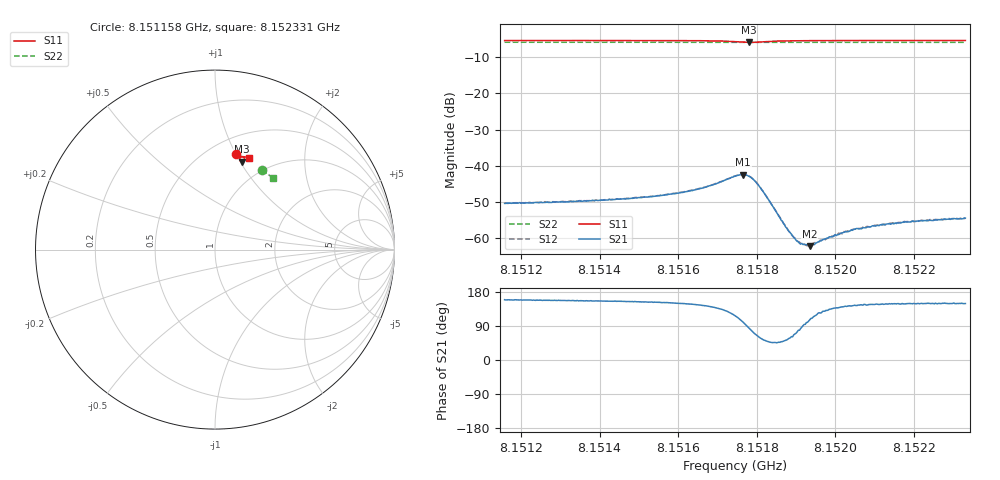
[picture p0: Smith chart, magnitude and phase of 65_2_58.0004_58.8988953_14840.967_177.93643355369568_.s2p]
#  HZ  S  RI  R  50.00
! Rohde & Schwarz Vector Network Analyzer
! Rohde-Schwarz,ZNB20-2Port,1311601062101988,3.16
! Created: UTC 3/21/2024, 12:53:09 AM
! freq[Hz]  re:S11  im:S11  re:S21  im:S21  re:S12  im:S12  re:S22  im:S22
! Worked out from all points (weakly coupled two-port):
!   401 points, 8.151158 GHz to 8.152331 GHz, reference 50 ohm
!   highest |S21| = -42.50 dB at 8.151765 GHz (marker M1); lowest = -62.4 dB at 8.151935 GHz (marker M2)
!   lowest |S11| = -5.8 dB at 8.15178 GHz (marker M3), VSWR 3.09, Z = 38.2 + j50.7 ohm
!   |S11| at or under -10 dB: nowhere
!   |S22| runs from -5.8 to -5.8 dB; largest |S21 - S12| = 0.00016
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8.1511582e9  0.1157 0.5307  -0.00278 0.00106  -0.00278 0.00114  0.2616 0.4426
8.1513546e9  0.1303 0.5276  -0.00292 0.00128  -0.00297 0.00138  0.2723 0.4359
8.1514338e9  0.1365 0.5259  -0.00304 0.00142  -0.00304 0.00151  0.2766 0.4329
8.151551e9  0.1464 0.5228  -0.00336 0.00177  -0.00336 0.00181  0.2828 0.4286
8.1516565e9  0.157 0.517  -0.00394 0.00276  -0.0039 0.00284  0.2886 0.4245
8.1517444e9  0.1634 0.4979  -0.00325 0.00632  -0.00316 0.00643  0.2929 0.4207
8.151765e9  0.1564 0.4905  -0.00128 0.00739  -0.00118 0.00743  0.2936 0.4198
8.1517796e9  0.1478 0.4896  0.000661 0.00709  0.000751 0.00716  0.2939 0.4192
8.1517943e9  0.1405 0.4942  0.00214 0.00578  0.00221 0.00582  0.2944 0.4192
8.1518089e9  0.1375 0.5012  0.00262 0.00417  0.00267 0.00418  0.2953 0.4189
8.1518734e9  0.1471 0.5165  0.000858 0.00111  0.000906 0.00112  0.299 0.4169
8.1518939e9  0.1504 0.5176  0.000403 0.000926  0.000436 0.000905  0.3001 0.4162
8.1519115e9  0.1531 0.5181  9.48e-05 0.000805  9.98e-05 0.000819  0.3011 0.4155
8.1519232e9  0.1546 0.5182  -5.63e-05 0.000798  -4.64e-05 0.00079  0.3018 0.4151
8.151935e9  0.1561 0.5182  -0.000216 0.000728  -0.000216 0.000772  0.3024 0.4144
8.1519408e9  0.1568 0.5182  -0.000281 0.000752  -0.000307 0.000754  0.3027 0.4142
8.1519789e9  0.1611 0.518  -0.000641 0.000742  -0.000635 0.000733  0.3048 0.4128
8.1520024e9  0.1634 0.5176  -0.000788 0.000718  -0.000812 0.000761  0.3059 0.4119
8.1520493e9  0.1677 0.5168  -0.00106 0.000758  -0.00105 0.000784  0.3083 0.41
8.1521372e9  0.1748 0.5151  -0.00134 0.000813  -0.0013 0.000871  0.3129 0.4064
8.1522457e9  0.183 0.5127  -0.00149 0.00088  -0.00151 0.000902  0.3183 0.402
8.1523307e9  0.1892 0.5108  -0.0016 0.00096  -0.00158 0.000954  0.3225 0.3985
